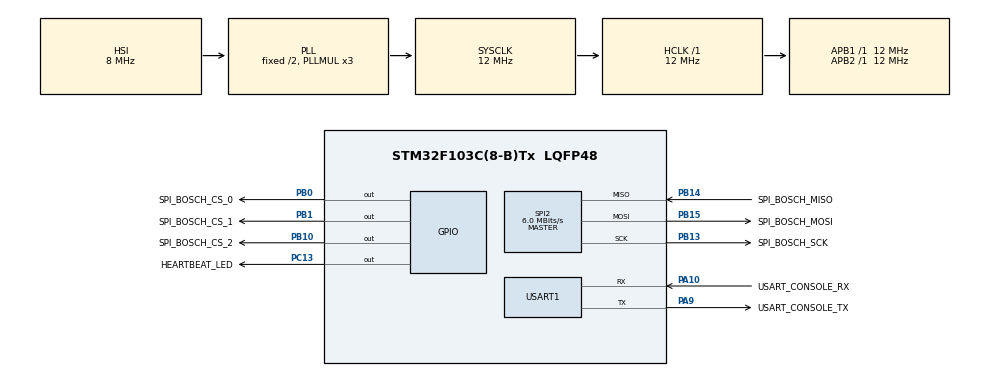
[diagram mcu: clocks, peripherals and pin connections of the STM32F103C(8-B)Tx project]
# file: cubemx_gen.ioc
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FREERTOS.Tasks01=heartBeat,0,128,heartBeatTask,Default,NULL,Static,heartBeatBuffer,heartBeatControlBlock;console,-3,384,consoleTask,Default,NULL,Static,consoleBuffer,consoleControlBlock;sensorMonitor,-3,256,sensorMonitorTask,Default,NULL,Static,sensorMonitorBuffer,sensorMonitorControlBlock
Mcu.Family=STM32F1
Mcu.Name=STM32F103C(8-B)Tx
Mcu.Package=LQFP48
NVIC.PriorityGroup=NVIC_PRIORITYGROUP_4
NVIC.TIM1_UP_IRQn=true\:0\:0\:false\:false\:true\:false\:false\:true
NVIC.TimeBase=TIM1_UP_IRQn
NVIC.TimeBaseIP=TIM1
PA10.GPIO_Label=USART_CONSOLE_RX
PA10.Mode=Asynchronous
PA10.Signal=USART1_RX
PA13.Mode=Serial_Wire
PA13.Signal=SYS_JTMS-SWDIO
PA14.Mode=Serial_Wire
PA14.Signal=SYS_JTCK-SWCLK
PA9.GPIO_Label=USART_CONSOLE_TX
PA9.Mode=Asynchronous
PA9.Signal=USART1_TX
PB0.GPIO_Label=SPI_BOSCH_CS_0
PB0.Signal=GPIO_Output
PB1.GPIO_Label=SPI_BOSCH_CS_1
PB1.Signal=GPIO_Output
PB10.GPIO_Label=SPI_BOSCH_CS_2
PB10.Signal=GPIO_Output
PB13.GPIO_Label=SPI_BOSCH_SCK
PB13.Mode=Full_Duplex_Master
PB13.Signal=SPI2_SCK
PB14.GPIO_Label=SPI_BOSCH_MISO
PB14.Mode=Full_Duplex_Master
PB14.Signal=SPI2_MISO
PB15.GPIO_Label=SPI_BOSCH_MOSI
PB15.Mode=Full_Duplex_Master
PB15.Signal=SPI2_MOSI
PC13-TAMPER-RTC.GPIO_Label=HEARTBEAT_LED
PC13-TAMPER-RTC.Signal=GPIO_Output
ProjectManager.HeapSize=0x200
ProjectManager.StackSize=0x400
ProjectManager.TargetToolchain=Makefile
RCC.AHBFreq_Value=12000000
RCC.APB1Freq_Value=12000000
RCC.APB1TimFreq_Value=12000000
RCC.APB2Freq_Value=12000000
RCC.APB2TimFreq_Value=12000000
RCC.HCLKFreq_Value=12000000
RCC.PLLMUL=RCC_PLL_MUL3
RCC.SYSCLKFreq_VALUE=12000000
RCC.SYSCLKSource=RCC_SYSCLKSOURCE_PLLCLK
RCC.USBFreq_Value=12000000
SPI2.CalculateBaudRate=6.0 MBits/s
SPI2.Direction=SPI_DIRECTION_2LINES
SPI2.Mode=SPI_MODE_MASTER
SPI2.VirtualType=VM_MASTER
USART1.VirtualMode=VM_ASYNC
VP_FREERTOS_VS_CMSIS_V1.Mode=CMSIS_V1
VP_SYS_VS_tim1.Mode=TIM1
board=custom

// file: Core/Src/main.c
/* USER CODE BEGIN Header */
/**
  ******************************************************************************
  * @file           : main.c
  * @brief          : Main program body
  ******************************************************************************
  * @attention
  *
  * <h2><center>&copy; Copyright (c) 2021 STMicroelectronics.
  * All rights reserved.</center></h2>
  *
  * This software component is licensed by ST under Ultimate Liberty license
  * SLA0044, the "License"; You may not use this file except in compliance with
  * the License. You may obtain a copy of the License at:
  *                             www.st.com/SLA0044
  *
  ******************************************************************************
  */
/* USER CODE END Header */
#include "main.h"
#include "cmsis_os.h"
#include "spi.h"
#include "usart.h"
#include "gpio.h"

/* USER CODE BEGIN Includes */
#include "logger_api.h"

#include "stm32f103_logger.h"
#include "stm32f103_bme280.h"

#include "green_house_api.h"

#include "FreeRTOS.h"

/* USER CODE END Includes */

void SystemClock_Config(void);
void MX_FREERTOS_Init(void);
/* USER CODE BEGIN PFP */
static green_house_config_st_t st_greenHouseCfg;
/* USER CODE END PFP */

/* USER CODE BEGIN 0 */

static
void bme280Init() {
    struct identifier *dev_id_p = NULL;

    for (uint8_t i = 0; i < GREEN_HOUSE_BME280_COUNT; i++) {

        stm32f103_bme280_init((bme280_sensor_id_t)i);

        dev_id_p = (struct identifier *)pvPortMalloc(sizeof(struct identifier));

        dev_id_p->dev_addr = i;
        st_greenHouseCfg.bme280_devices[i].intf_ptr = dev_id_p;

        st_greenHouseCfg.bme280_devices[i].intf = BME280_SPI_INTF;

        st_greenHouseCfg.bme280_devices[i].read = stm32f103_bme280_spi_read;
        st_greenHouseCfg.bme280_devices[i].write = stm32f103_bme280_spi_write;
        st_greenHouseCfg.bme280_devices[i].delay_us = stm32f103_bme280_delay_ms;
    }
}

static
void boardInit()
{
    st_greenHouseCfg.base_config.logger_ops.init = logger_init;
    st_greenHouseCfg.base_config.logger_ops.send_msg = logger_send_msg;
    st_greenHouseCfg.base_config.logger_ops.start = logger_start;
    st_greenHouseCfg.base_config.logger_ops.get_sys_time = HAL_GetTick;
    st_greenHouseCfg.base_config.board_ops.delay = HAL_Delay;

    bme280Init();

    initModule(&st_greenHouseCfg);
}
/* USER CODE END 0 */

int main(void)
{

  /* MCU Configuration--------------------------------------------------------*/

  /* Reset of all peripherals, Initializes the Flash interface and the Systick. */
  HAL_Init();

  /* Configure the system clock */
  SystemClock_Config();

  /* Initialize all configured peripherals */
  MX_GPIO_Init();
  MX_SPI2_Init();
  MX_USART1_UART_Init();
  /* USER CODE BEGIN 2 */
  boardInit();
  /* USER CODE END 2 */

  /* Call init function for freertos objects (in freertos.c) */
  MX_FREERTOS_Init();
  /* Start scheduler */
  osKernelStart();

  /* We should never get here as control is now taken by the scheduler */
  /* Infinite loop */
  while (1)
  {

  }
}

void SystemClock_Config(void)
{
  RCC_OscInitTypeDef RCC_OscInitStruct = {0};
  RCC_ClkInitTypeDef RCC_ClkInitStruct = {0};

  /** Initializes the RCC Oscillators according to the specified parameters
  * in the RCC_OscInitTypeDef structure.
  */
  RCC_OscInitStruct.OscillatorType = RCC_OSCILLATORTYPE_HSI;
  RCC_OscInitStruct.HSIState = RCC_HSI_ON;
  RCC_OscInitStruct.HSICalibrationValue = RCC_HSICALIBRATION_DEFAULT;
  RCC_OscInitStruct.PLL.PLLState = RCC_PLL_ON;
  RCC_OscInitStruct.PLL.PLLSource = RCC_PLLSOURCE_HSI_DIV2;
  RCC_OscInitStruct.PLL.PLLMUL = RCC_PLL_MUL3;
  if (HAL_RCC_OscConfig(&RCC_OscInitStruct) != HAL_OK)
  {
    Error_Handler();
  }
  /** Initializes the CPU, AHB and APB buses clocks
  */
  RCC_ClkInitStruct.ClockType = RCC_CLOCKTYPE_HCLK|RCC_CLOCKTYPE_SYSCLK
                              |RCC_CLOCKTYPE_PCLK1|RCC_CLOCKTYPE_PCLK2;
  RCC_ClkInitStruct.SYSCLKSource = RCC_SYSCLKSOURCE_PLLCLK;
  RCC_ClkInitStruct.AHBCLKDivider = RCC_SYSCLK_DIV1;
  RCC_ClkInitStruct.APB1CLKDivider = RCC_HCLK_DIV1;
  RCC_ClkInitStruct.APB2CLKDivider = RCC_HCLK_DIV1;

  if (HAL_RCC_ClockConfig(&RCC_ClkInitStruct, FLASH_LATENCY_0) != HAL_OK)
  {
    Error_Handler();
  }
}

 /**
  * @brief  Period elapsed callback in non blocking mode
  * @note   This function is called  when TIM1 interrupt took place, inside
  * HAL_TIM_IRQHandler(). It makes a direct call to HAL_IncTick() to increment
  * a global variable "uwTick" used as application time base.
  * @param  htim : TIM handle
  * @retval None
  */
void HAL_TIM_PeriodElapsedCallback(TIM_HandleTypeDef *htim)
{
  if (htim->Instance == TIM1) {
    HAL_IncTick();
  }
}

void Error_Handler(void)
{
  __disable_irq();
  while (1)
  {
  }
}

/************************ (C) COPYRIGHT STMicroelectronics *****END OF FILE****/

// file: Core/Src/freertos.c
/* USER CODE BEGIN Header */
/**
  ******************************************************************************
  * File Name          : freertos.c
  * Description        : Code for freertos applications
  ******************************************************************************
  * @attention
  *
  * <h2><center>&copy; Copyright (c) 2021 STMicroelectronics.
  * All rights reserved.</center></h2>
  *
  * This software component is licensed by ST under Ultimate Liberty license
  * SLA0044, the "License"; You may not use this file except in compliance with
  * the License. You may obtain a copy of the License at:
  *                             www.st.com/SLA0044
  *
  ******************************************************************************
  */
/* USER CODE END Header */

#include "FreeRTOS.h"
#include "task.h"
#include "main.h"
#include "cmsis_os.h"

/* USER CODE BEGIN Includes */
#include "green_house_api.h"
#include "uart_console.h"
/* USER CODE END Includes */

osThreadId heartBeatHandle;
uint32_t heartBeatBuffer[ 128 ];
osStaticThreadDef_t heartBeatControlBlock;
osThreadId consoleHandle;
uint32_t consoleBuffer[ 384 ];
osStaticThreadDef_t consoleControlBlock;
osThreadId sensorMonitorHandle;
uint32_t sensorMonitorBuffer[ 256 ];
osStaticThreadDef_t sensorMonitorControlBlock;

void heartBeatTask(void const * argument);
void consoleTask(void const * argument);
void sensorMonitorTask(void const * argument);

void MX_FREERTOS_Init(void); /* (MISRA C 2004 rule 8.1) */

/* GetIdleTaskMemory prototype (linked to static allocation support) */
void vApplicationGetIdleTaskMemory( StaticTask_t **ppxIdleTaskTCBBuffer, StackType_t **ppxIdleTaskStackBuffer, uint32_t *pulIdleTaskStackSize );

/* USER CODE BEGIN GET_IDLE_TASK_MEMORY */
static StaticTask_t xIdleTaskTCBBuffer;
static StackType_t xIdleStack[configMINIMAL_STACK_SIZE];

void vApplicationGetIdleTaskMemory( StaticTask_t **ppxIdleTaskTCBBuffer, StackType_t **ppxIdleTaskStackBuffer, uint32_t *pulIdleTaskStackSize )
{
  *ppxIdleTaskTCBBuffer = &xIdleTaskTCBBuffer;
  *ppxIdleTaskStackBuffer = &xIdleStack[0];
  *pulIdleTaskStackSize = configMINIMAL_STACK_SIZE;
  /* place for user code */
}
/* USER CODE END GET_IDLE_TASK_MEMORY */

void MX_FREERTOS_Init(void) {

  /* Create the thread(s) */
  /* definition and creation of heartBeat */
  osThreadStaticDef(heartBeat, heartBeatTask, osPriorityNormal, 0, 128, heartBeatBuffer, &heartBeatControlBlock);
  heartBeatHandle = osThreadCreate(osThread(heartBeat), NULL);

  /* definition and creation of console */
  osThreadStaticDef(console, consoleTask, osPriorityIdle, 0, 384, consoleBuffer, &consoleControlBlock);
  consoleHandle = osThreadCreate(osThread(console), NULL);

  /* definition and creation of sensorMonitor */
  osThreadStaticDef(sensorMonitor, sensorMonitorTask, osPriorityIdle, 0, 256, sensorMonitorBuffer, &sensorMonitorControlBlock);
  sensorMonitorHandle = osThreadCreate(osThread(sensorMonitor), NULL);

}

void heartBeatTask(void const * argument)
{
  /* USER CODE BEGIN heartBeatTask */
  /* Infinite loop */
  for(;;)
  {
          HAL_GPIO_TogglePin(HEARTBEAT_LED_GPIO_Port, HEARTBEAT_LED_Pin);
          osDelay(300);
  }
  /* USER CODE END heartBeatTask */
}

void consoleTask(void const * argument)
{
  /* USER CODE BEGIN consoleTask */
  /* Infinite loop */
  startLoggerTask();
  for(;;)
  {
    osDelay(1);
  }
  /* USER CODE END consoleTask */
}

void sensorMonitorTask(void const * argument)
{
  /* USER CODE BEGIN sensorMonitorTask */
  /* Infinite loop */
  for(;;)
  {
    osDelay(1000);
    startModuleTask();
  }
  /* USER CODE END sensorMonitorTask */
}

/************************ (C) COPYRIGHT STMicroelectronics *****END OF FILE****/
